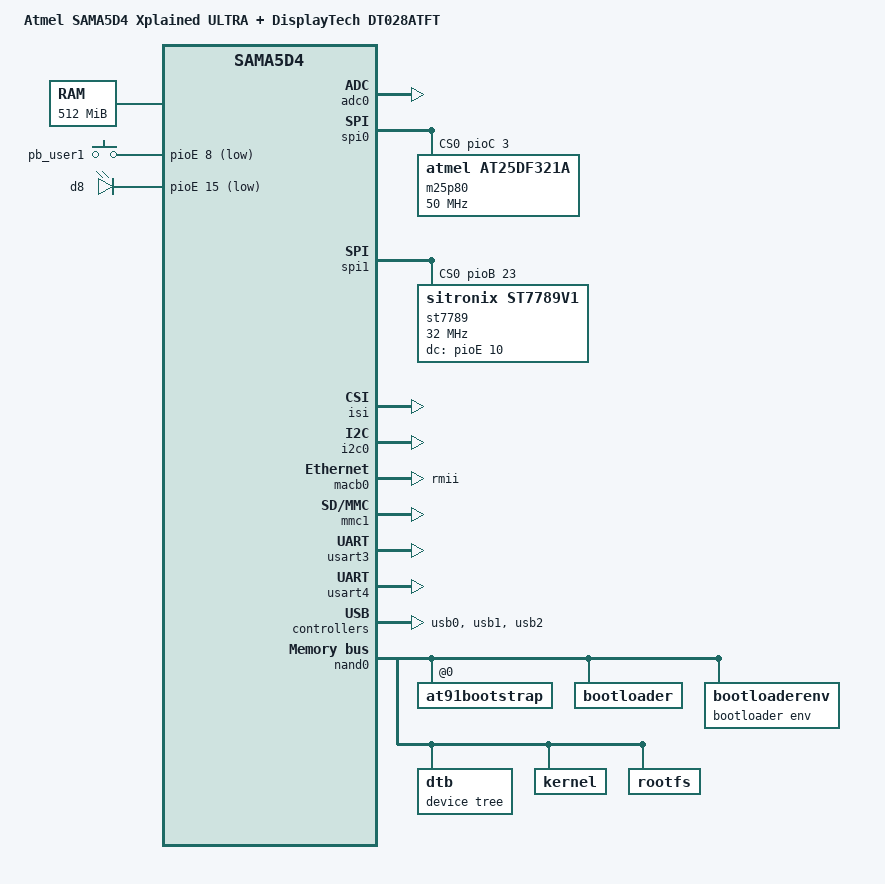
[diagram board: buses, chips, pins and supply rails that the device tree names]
/*
 * at91-sama5d4_xplained_rex-ii_displaytech.dts - Device Tree file for SAMA5D4 Xplained ULTRA with DT028ATFT display panel (based on ILITEK ILI9341)
 *
 *  Copyright (C) 2018 DoseNTRX,
 *                2018 Yechiel Cohen <yechielco@embedded-softya.com>
 *
 * Licensed under GPLv2 or later.
 */
/dts-v1/;
#include "sama5d4.dtsi"
#include "at91-sama5d4_xplained_dm_rex-ii_displaytech.dtsi"
//#include "at91-sama5d4_xplained_ov7690.dtsi"


/ {
	model = "Atmel SAMA5D4 Xplained ULTRA + DisplayTech DT028ATFT";
	compatible = "atmel,sama5d4-xplained", "atmel,sama5d4", "atmel,sama5", "panel,st7789v2";

	chosen {
		bootargs = "console=ttyS0,115200 ignore_loglevel earlyprintk";
	};

	memory {
		reg = <0x20000000 0x20000000>;
	};

	clocks {
		#address-cells = <1>;
		#size-cells = <1>;
		ranges;

		main_clock: clock@0 {
			compatible = "atmel,osc", "fixed-clock";
			clock-frequency = <12000000>;
		};
	};

	ahb {
		apb {
			adc0: adc@fc034000 {
				/* The vref depends on JP22 of EK. If connect 1-2 then use 3.3V. connect 2-3 use 3.0V */
				atmel,adc-vref = <3300>;
				/*atmel,adc-ts-wires = <4>;*/	/* Set up ADC touch screen */
				status = "okay";		/* Enable ADC IIO support */
			};

			spi0: spi@f8010000 {
				cs-gpios = <&pioC 3 0>, <0>, <0>, <0>;
				status = "okay";
				m25p80@0 {
					compatible = "atmel,at25df321a";
					spi-max-frequency = <50000000>;
					reg = <0>;
				};
			};

			spi1: spi@fc018000 {
				cs-gpios = <&pioB 23 0>, <0>, <0> , <0>;
				status = "okay";

/*
 *******************************************************************
 * We aren't using ili9341 LCD. But we keep it as reference for now:
 *******************************************************************
				ili9341@0 {
					rotate = <180>;
					bgr;
					fps = <30>;
					compatible = "ilitek,ili9341";
					spi-max-frequency = <32000000>;
					reg = <0>;
					regwidth = <8>;
					buswidth = <8>;
					verbose = <3>;
					bpp = <16>;
					hw-iface = "parallel-rgb";
//					hw-iface = "spi-rgb";
//					reset-gpios = <&pioC 3 0>; // PC3 - J4.33
					dc-gpios = <&pioE 9 0>;    // PC4 - J4.31
				};
*******************************************************************/

				st7789@0 {
					rotate = <180>;
//					bgr;
					fps = <30>;
					compatible = "sitronix,st7789v1";
					spi-max-frequency = <32000000>;
					pinctrl-names = "default";
					pinctrl-0 = <&pinctrl_frida_pins>;
					reg = <0>;
					regwidth = <8>;
					buswidth = <8>;
					verbose = <3>;
					bpp = <18>;
					hw-iface = "parallel-rgb";
//					hw-iface = "spi-rgb";
//					reset-gpios = <&pioC 3 0>; // PC3 - J4.33
					dc-gpios = <&pioE 10 0>;    // PC4 - J4.31
		                };

			};
			
			isi: isi@f0008000 {
//				pinctrl-names = "default";
//				pinctrl-0 = <&pinctrl_isi &pinctrl_isi_mck>;
				status = "okay";

//				port {
//					isi_0: endpoint@0 {
//						remote-endpoint = <&ov7690_0>;
//						hsync-active = <1>;
//						vsync-active = <1>;
//						// pclk-sample = <1>;
//					};
//				};
			};

            i2c0: i2c@f8014000 {
			status = "okay";
		        
//		        ov7670: camera@21 {
//		                compatible = "ovti,ov7690";
//		                reg = <0x21>;
//		                pinctrl-names = "default";
//		                // pinctrl-0 = <&pinctrl_pck1_as_isi_mck /* &pinctrl_sensor_power &pinctrl_sensor_reset*/>;
//		                // resetb-gpios = <&pioB 11 GPIO_ACTIVE_LOW>;
//		                // pwdn-gpios = <&pioB 5 GPIO_ACTIVE_HIGH>;
//		                /* use pck1 for the master clock of ov2640 */
//		                //clocks = <&pck0>;
//
//                        clock-frequency = <24000000>;
//                        // clocks = <&pck0>;
//                        // clock-names = "xvclk";
//		                //assigned-clocks = <&pck0>;
//		                assigned-clock-rates = <24000000>;
//
//		                port {
//		                    ov7690_0: endpoint {
//		                        remote-endpoint = <&isi_0>;
//		                    };
//		                };
//		        };
			};

			macb0: ethernet@f8020000 {
				phy-mode = "rmii";
				status = "okay";
			};

			mmc1: mmc@fc000000 {
				pinctrl-names = "default";
				pinctrl-0 = <&pinctrl_mmc1_clk_cmd_dat0 &pinctrl_mmc1_dat1_3 &pinctrl_mmc1_cd>;
				status = "okay";
				slot@0 {
					reg = <0>;
					bus-width = <4>;
					cd-gpios = <&pioE 3 0>;
				};
			};

			usart3: serial@fc00c000 {
				status = "okay";
			};

			usart4: serial@fc010000 {
				status = "okay";
			};

			watchdog@fc068640 {
				status = "okay";
			};

			pinctrl@fc06a000 {
				board {
					pinctrl_mmc1_cd: mmc1_cd {
						atmel,pins =
							<AT91_PIOE 3 AT91_PERIPH_GPIO AT91_PINCTRL_PULL_UP_DEGLITCH>;
					};
					pinctrl_usba_vbus: usba_vbus {
						atmel,pins =
							<AT91_PIOE 31 AT91_PERIPH_GPIO AT91_PINCTRL_DEGLITCH>;
					};
					pinctrl_key_gpio: key_gpio_0 {
						atmel,pins =
							<AT91_PIOE 8 AT91_PERIPH_GPIO AT91_PINCTRL_PULL_UP_DEGLITCH>;
					};

					pinctrl_pck1_as_isi_mck: pck1_as_isi_mck-0 {
						atmel,pins =
							<AT91_PIOB 26 AT91_PERIPH_A AT91_PINCTRL_NONE>; /* PC4 periph C ISI_MCK */
					};


					pinctrl_edt_ft5x06_pins: edt_ft5x06_pins-0 {
						atmel,pins =
							<AT91_PIOE  9 AT91_PERIPH_GPIO AT91_PINCTRL_PULL_UP_DEGLITCH>;
					};

					pinctrl_frida_pins: frida_pins-0 {
						atmel,pins =
							<AT91_PIOE 10 AT91_PERIPH_GPIO AT91_PINCTRL_PULL_UP_DEGLITCH>;
					};
				};
			};
		};

		vdec0: vdec@00300000 {
			status = "okay";
		};

		usb0: gadget@00400000 {
			atmel,vbus-gpio = <&pioE 31 GPIO_ACTIVE_HIGH>;
			pinctrl-names = "default";
			pinctrl-0 = <&pinctrl_usba_vbus>;
			status = "okay";
		};

		usb1: ohci@00500000 {
			num-ports = <3>;
			atmel,vbus-gpio = <0
					   &pioE 11 GPIO_ACTIVE_HIGH
					   &pioE 14 GPIO_ACTIVE_HIGH
					  >;
			status = "okay";
		};

		usb2: ehci@00600000 {
			status = "okay";
		};

		nand0: nand@80000000 {
			nand-bus-width = <8>;
			nand-ecc-mode = "hw";
			nand-on-flash-bbt;
			atmel,has-pmecc;
			status = "okay";

			at91bootstrap@0 {
				label = "at91bootstrap";
				reg = <0x0 0x40000>;
			};

			bootloader@40000 {
				label = "bootloader";
				reg = <0x40000 0x80000>;
			};

			bootloaderenv@c0000 {
				label = "bootloader env";
				reg = <0xc0000 0xc0000>;
			};

			dtb@180000 {
				label = "device tree";
				reg = <0x180000 0x80000>;
			};

			kernel@200000 {
				label = "kernel";
				reg = <0x200000 0x600000>;
			};

			rootfs@800000 {
				label = "rootfs";
				reg = <0x800000 0x0f800000>;
			};
		};
	};

	gpio_keys {
		compatible = "gpio-keys";
		#address-cells = <1>;
		#size-cells = <0>;

		pinctrl-names = "default";
		pinctrl-0 = <&pinctrl_key_gpio>;

		pb_user1 {
			label = "pb_user1";
			gpios = <&pioE 8 GPIO_ACTIVE_LOW>;
			linux,code = <0x100>;
			gpio-key,wakeup;
		};
	};

	leds {
		compatible = "gpio-leds";
		status = "okay";

		d8 {
			label = "d8";
			gpios = <&pioE 15 GPIO_ACTIVE_LOW>;
			linux,default-trigger = "heartbeat";
		};

		/* pioD is secure, not enable yet
		d10 {
			label = "d10";
			gpios = <&pioD 30 GPIO_ACTIVE_HIGH>;
			status = "disabled";
		}; */
	};
};
